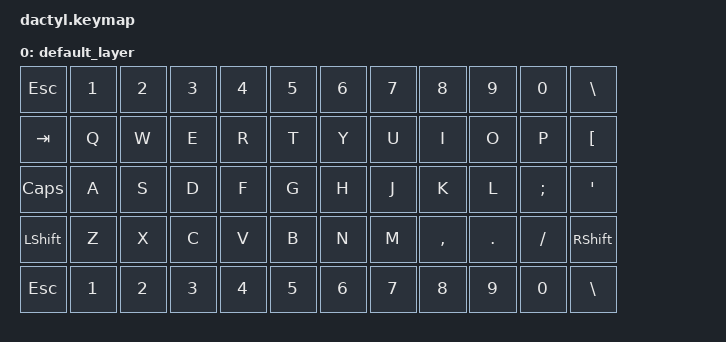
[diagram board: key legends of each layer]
#include <behaviors.dtsi>
#include <dt-bindings/zmk/keys.h>
/ {
	keymap {
	  compatible = "zmk,keymap";
	  
	  default_layer {
		bindings = <
		  &kp ESC		&kp N1	&kp N2	&kp N3	&kp N4	&kp N5	&kp N6	&kp N7	&kp N8	  &kp N9	  &kp N0		&kp BACKSLASH
		  &kp TAB		&kp Q	&kp W	&kp E	&kp R	&kp T	&kp Y	&kp U	&kp I	  &kp O		  &kp P			&kp LEFT_BRACKET
		  &kp CAPS		&kp A	&kp S	&kp D	&kp F	&kp G	&kp H	&kp J	&kp K	  &kp L		  &kp SEMICOLON &kp APOS 	  
		  &kp LSHIFT	&kp Z	&kp X	&kp C	&kp V	&kp B	&kp N	&kp M	&kp COMMA &kp PERIOD  &kp FSLH	&kp RSHIFT
		  &kp ESC		&kp N1	&kp N2	&kp N3	&kp N4	&kp N5	&kp N6	&kp N7	&kp N8	  &kp N9	  &kp N0		&kp BACKSLASH
		>;
	  };
	};
  };
